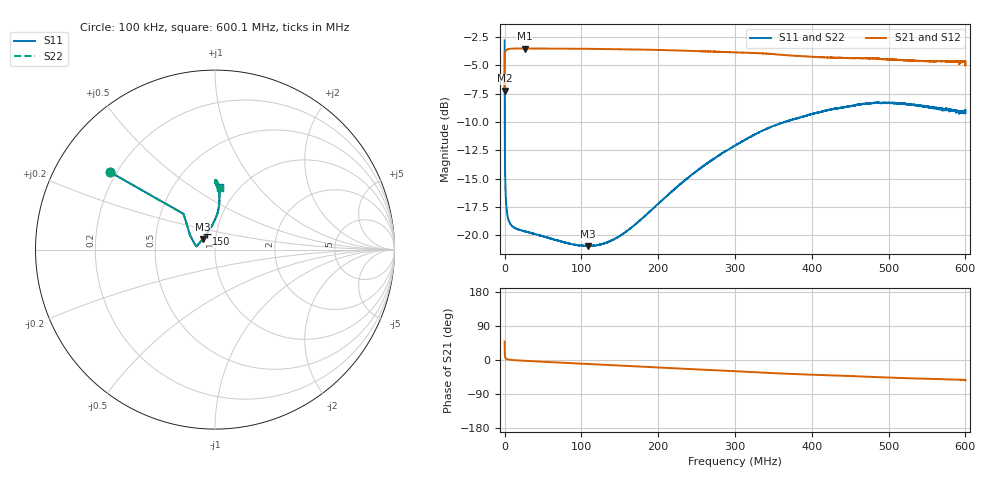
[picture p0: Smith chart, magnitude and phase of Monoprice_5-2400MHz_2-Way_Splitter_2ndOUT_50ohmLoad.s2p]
! ListType=Lin
! Comment=Monoprice_5-2400MHz_2-Way_Splitter_2ndOUT_50ohmLoad
# MHZ S DB R 50
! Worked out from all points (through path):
!   6000 points, 100 kHz to 600.1 MHz, reference 50 ohm
!   highest |S21| = -3.50 dB at 26.5 MHz (marker M1); lowest = -7.2 dB at 100 kHz (marker M2)
!   group delay of S21, straight-line fit = 253 ps
!   lowest |S11| = -21.0 dB at 108.9 MHz (marker M3), VSWR 1.20, Z = 43.3 + j4.95 ohm
!   |S11| at or under -10 dB: 322.1 kHz to 364.5 MHz (364.2 MHz wide, 200 % of centre)
!   |S22| runs from -20.9 to -2.8 dB; largest |S21 - S12| = 0.084
!   S11 on the Smith chart (normalised r, x): 100 kHz: 0.18, +0.32; 150 MHz: 0.90, +0.16; 600.1 MHz: 0.83, +0.65
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0.1  -2.79 143.5  -7.23 48.7  -7.22 48.7  -2.80 143.5
3.200517  -17.98 160.3  -3.59 2.3  -3.59 2.3  -17.98 160.4
3.7006  -18.19 161.7  -3.58 2.0  -3.58 2.0  -18.19 161.7
4.700767  -18.51 163.9  -3.56 1.5  -3.56 1.4  -18.51 163.9
7.00115  -18.92 166.7  -3.53 0.7  -3.53 0.7  -18.92 166.7
10.70177  -19.24 168.9  -3.51 -0.1  -3.51 -0.1  -19.23 169.0
26.5044  -19.64 169.4  -3.50 -2.2  -3.50 -2.2  -19.64 169.4
79.71327  -20.66 154.7  -3.52 -7.6  -3.52 -7.6  -20.65 154.6
100.1167  -20.91 145.4  -3.53 -9.6  -3.53 -9.7  -20.90 145.3
108.9181  -20.96 140.7  -3.53 -10.5  -3.53 -10.5  -20.94 140.7
129.1215  -20.73 129.3  -3.54 -12.5  -3.54 -12.6  -20.72 129.3
150.025  -20.05 117.4  -3.56 -14.7  -3.56 -14.7  -20.04 117.4
171.0285  -18.98 107.0  -3.59 -16.8  -3.59 -16.8  -18.97 107.0
200.1333  -17.21 96.4  -3.63 -19.8  -3.63 -19.7  -17.22 96.4
249.8416  -14.35 87.0  -3.73 -24.7  -3.73 -24.7  -14.34 87.1
300.15  -12.08 84.8  -3.85 -29.6  -3.84 -29.6  -12.08 84.8
347.4579  -10.42 85.2  -3.98 -34.4  -3.98 -34.4  -10.42 85.2
400.1667  -9.28 87.4  -4.23 -38.8  -4.23 -38.8  -9.28 87.4
462.7771  -8.44 89.7  -4.35 -43.4  -4.36 -43.3  -8.44 89.7
500.1833  -8.31 89.5  -4.44 -46.3  -4.45 -46.4  -8.31 89.5
535.6893  -8.46 88.2  -4.58 -48.8  -4.59 -48.8  -8.47 88.2
600.1  -9.22 85.5  -4.66 -52.8  -4.65 -52.7  -9.26 84.9
